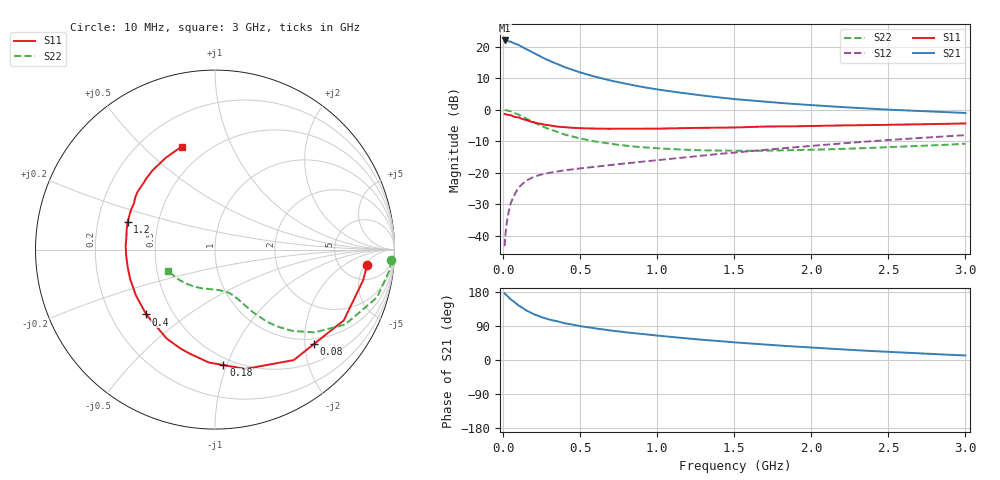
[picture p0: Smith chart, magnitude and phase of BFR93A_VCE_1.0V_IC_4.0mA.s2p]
! Infineon Technologies  Discrete & RF Semiconductors
! BFR93A
! VCE =  1.0 V,  IC =  4.0 mA
! Common Emitter S-Parameters:  Nov 2015
# GHz  S  MA  R  50
!  f  S11  S21  S12  S22
! GHz  MAG  ANG  MAG  ANG  MAG  ANG  MAG  ANG
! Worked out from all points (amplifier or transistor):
!   180 points, 10 MHz to 3 GHz, reference 50 ohm
!   highest |S21| = 21.9 dB at 10 MHz (marker M1)
!   |S21| within 3 dB of that: start of sweep to 160.9 MHz
!   unconditionally stable (mu >= 1): 763.5 MHz to end of sweep
!   at 160 MHz: K = 0.30, MSG = 20.6 dB, |S12| = -22.3 dB
!   at 1.22 GHz: K = 1.16, MAG = 7.5 dB, |S12| = -14.9 dB
!   at 3 GHz: K = 1.03, MAG = 2.4 dB, |S12| = -8.1 dB
!   S11 on the Smith chart (normalised r, x): 10 MHz: 9, -6; 80 MHz: 0.87, -2.19; 180 MHz: 0.44, -0.97; 400 MHz: 0.35, -0.35; 1.2 GHz: 0.33, +0.14; 3 GHz: 0.37, +0.66
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0.01  0.8513 -5.9  12.52 175.8  0.0068 86.6  0.9851 -3.5
0.02  0.843 -11.7  12.46 171.7  0.0135 82.9  0.9786 -6.8
0.05  0.8188 -28.8  11.95 160.1  0.0325 74.8  0.9407 -16.5
0.08  0.7621 -43.8  11.06 150.9  0.0474 66.0  0.8719 -24.2
0.1  0.756 -54.5  10.64 144.0  0.0577 62.7  0.836 -30.0
0.105  0.7448 -56.4  10.47 142.8  0.0593 61.6  0.8236 -30.8
0.15  0.6861 -75.7  9.161 130.7  0.0744 53.8  0.7219 -39.7
0.18  0.6451 -85.8  8.362 125.1  0.0812 50.4  0.6631 -43.5
0.2  0.63 -93.1  7.882 120.7  0.0859 48.4  0.6257 -46.4
0.24  0.595 -104.3  7.014 114.6  0.0919 45.3  0.5627 -50.2
0.26  0.5831 -109.5  6.636 111.8  0.0947 44.2  0.5354 -51.9
0.3  0.564 -118.5  5.964 106.7  0.0995 42.5  0.4881 -54.6
0.4  0.5266 -136.7  4.716 96.9  0.1088 40.7  0.4022 -59.1
0.52  0.506 -152.1  3.773 88.3  0.118 40.5  0.341 -62.5
0.7  0.4963 -168.6  2.879 77.7  0.1321 42.1  0.2858 -66.9
0.88  0.4972 178.9  2.345 69.6  0.1471 43.9  0.2554 -71.6
1.02  0.4992 171.2  2.055 63.7  0.1597 45.1  0.2418 -75.5
1.2  0.5112 162.4  1.791 56.8  0.1773 46.3  0.23 -81.8
1.52  0.5219 149.6  1.456 46.0  0.2102 47.2  0.2224 -93.9
2.02  0.5514 133.7  1.171 32.3  0.2681 46.3  0.2312 -114.2
2.52  0.575 120.3  0.994 21.0  0.3314 42.4  0.254 -134.9
3  0.6032 108.0  0.884 12.0  0.393 37.0  0.2873 -155.4
